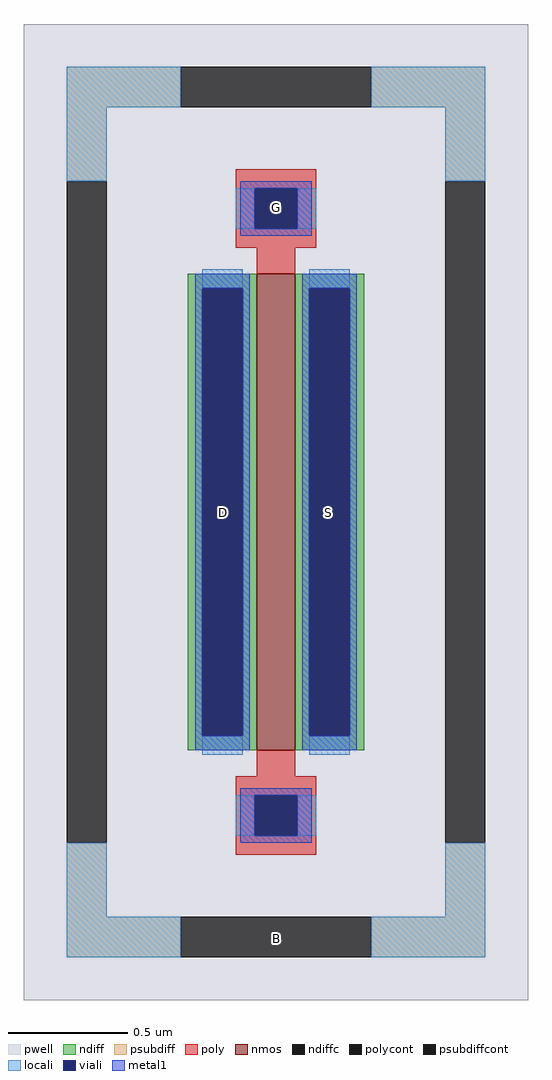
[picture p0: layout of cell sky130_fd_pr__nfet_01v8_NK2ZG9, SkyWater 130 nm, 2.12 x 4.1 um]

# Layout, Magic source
magic
tech sky130A
<< pwell >>
rect -106 -205 106 205
<< nmos >>
rect -8 -100 8 100
<< ndiff >>
rect -37 94 -8 100
rect -37 -94 -31 94
rect -14 -94 -8 94
rect -37 -100 -8 -94
rect 8 94 37 100
rect 8 -94 14 94
rect 31 -94 37 94
rect 8 -100 37 -94
<< ndiffc >>
rect -31 -94 -14 94
rect 14 -94 31 94
<< psubdiff >>
rect -88 170 -40 187
rect 40 170 88 187
rect -88 139 -71 170
rect 71 139 88 170
rect -88 -170 -71 -139
rect 71 -170 88 -139
rect -88 -187 -40 -170
rect 40 -187 88 -170
<< psubdiffcont >>
rect -40 170 40 187
rect -88 -139 -71 139
rect 71 -139 88 139
rect -40 -187 40 -170
<< poly >>
rect -17 136 17 144
rect -17 119 -9 136
rect 9 119 17 136
rect -17 111 17 119
rect -8 100 8 111
rect -8 -111 8 -100
rect -17 -119 17 -111
rect -17 -136 -9 -119
rect 9 -136 17 -119
rect -17 -144 17 -136
<< polycont >>
rect -9 119 9 136
rect -9 -136 9 -119
<< locali >>
rect -88 170 -40 187
rect 40 170 88 187
rect -88 139 -71 170
rect 71 139 88 170
rect -17 119 -9 136
rect 9 119 17 136
rect -31 94 -14 102
rect -31 -102 -14 -94
rect 14 94 31 102
rect 14 -102 31 -94
rect -17 -136 -9 -119
rect 9 -136 17 -119
rect -88 -170 -71 -139
rect 71 -170 88 -139
rect -88 -187 -40 -170
rect 40 -187 88 -170
<< viali >>
rect -9 119 9 136
rect -31 -94 -14 94
rect 14 -94 31 94
rect -9 -136 9 -119
<< metal1 >>
rect -15 136 15 139
rect -15 119 -9 136
rect 9 119 15 136
rect -15 116 15 119
rect -34 94 -11 100
rect -34 -94 -31 94
rect -14 -94 -11 94
rect -34 -100 -11 -94
rect 11 94 34 100
rect 11 -94 14 94
rect 31 -94 34 94
rect 11 -100 34 -94
rect -15 -119 15 -116
rect -15 -136 -9 -119
rect 9 -136 15 -119
rect -15 -139 15 -136
<< labels >>
rlabel ndiffc -22 0 -22 0 0 D
rlabel ndiffc 22 0 22 0 0 S
rlabel psubdiffcont 0 -179 0 -179 0 B
rlabel polycont 0 128 0 128 0 G
<< end >>
